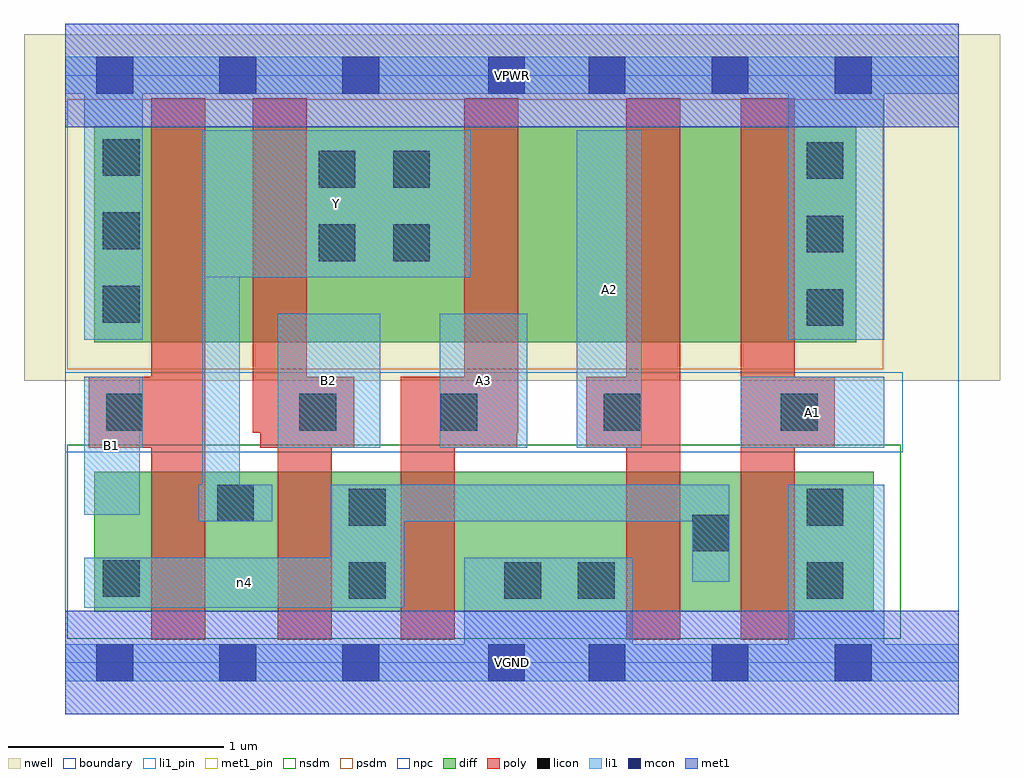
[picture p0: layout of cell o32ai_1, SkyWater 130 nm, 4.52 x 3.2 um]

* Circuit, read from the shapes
.subckt o32ai_1 A1 A2 A3 B1 B2 VGND VPWR Y n4
XM1 Y B1 n4 VSUBS sky130_fd_pr__nfet_01v8 w=0.65 l=0.25
XM2 n4 B2 Y VSUBS sky130_fd_pr__nfet_01v8 w=0.65 l=0.25
XM3 VGND A3 n4 VSUBS sky130_fd_pr__nfet_01v8 w=0.65 l=0.25
XM4 n4 A2 VGND VSUBS sky130_fd_pr__nfet_01v8 w=0.65 l=0.25
XM5 VGND A1 n4 VSUBS sky130_fd_pr__nfet_01v8 w=0.65 l=0.25
XM6 n1 B1 VPWR n2 sky130_fd_pr__pfet_01v8 w=1 l=0.25
XM7 Y B2 n1 n2 sky130_fd_pr__pfet_01v8 w=1 l=0.25
XM8 n3 A3 Y n2 sky130_fd_pr__pfet_01v8 w=1 l=0.25
XM9 n5 A2 n3 n2 sky130_fd_pr__pfet_01v8 w=1 l=0.25
XM10 VPWR A1 n5 n2 sky130_fd_pr__pfet_01v8 w=1 l=0.25
.ends

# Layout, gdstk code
import gdstk
lib = gdstk.Library(unit=1e-6, precision=1e-09)
def R(c, l, rs):  # rectangles x0, y0, x1, y1
    for r in rs: c.add(gdstk.rectangle(r[:2], r[2:], *l))
def A(c, l, x, y, w, h, nx, ny, dx, dy):  # array of equal rectangles
    R(c, l, [(x+i*dx, y+j*dy, x+i*dx+w, y+j*dy+h) for i in range(nx) for j in range(ny)])
nwell = (64, 20)
diff = (65, 20)
poly = (66, 20)
licon = (66, 44)
li1_pin = (67, 16)
li1 = (67, 20)
mcon = (67, 44)
met1_pin = (68, 16)
met1 = (68, 20)
nsdm = (93, 44)
psdm = (94, 20)
npc = (95, 20)
boundary = (235, 4)

o32ai_1 = lib.new_cell('o32ai_1')
R(o32ai_1, nwell, [(-0.19,1.305,4.33,2.91), (0,1.305,4.14,2.91)])
R(o32ai_1, diff, [(0.135,0.235,3.745,0.885), (0.135,1.485,3.665,2.485)])
R(o32ai_1, poly, [(0.4,0.105,0.65,2.615), (0.985,0.105,1.235,1.325), (1.555,0.105,1.805,1.325), (2.6,0.105,2.85,2.615), (3.13,0.105,3.38,2.615), (0.11,0.995,0.65,1.325), (0.905,0.995,1.34,1.325), (1.805,0.995,2.095,1.325), (2.415,0.995,2.85,1.325), (3.13,0.995,3.565,1.325), (0.87,1.065,1.12,2.615), (1.85,1.065,2.1,2.615)])
A(o32ai_1, licon, 3.435, 1.56, 0.17, 0.17, 1, 3, 0, 0.34)
A(o32ai_1, licon, 0.175, 1.575, 0.17, 0.17, 1, 3, 0, 0.34)
R(o32ai_1, licon, [(1.315,0.295,1.485,0.465), (2.035,0.295,2.205,0.465), (2.375,0.295,2.545,0.465), (3.435,0.295,3.605,0.465), (0.175,0.305,0.345,0.475), (2.905,0.515,3.075,0.685), (1.315,0.635,1.485,0.805), (3.435,0.635,3.605,0.805), (0.705,0.655,0.875,0.825), (0.19,1.075,0.36,1.245), (1.085,1.075,1.255,1.245), (1.74,1.075,1.91,1.245), (2.495,1.075,2.665,1.245), (3.315,1.075,3.485,1.245), (1.175,1.86,1.345,2.03), (1.52,1.86,1.69,2.03), (1.175,2.2,1.345,2.37), (1.52,2.2,1.69,2.37)])
R(o32ai_1, li1_pin, [(0.09,0.685,0.345,1.325), (0.985,0.995,1.46,1.615), (1.735,0.995,2.14,1.615), (2.37,0.995,2.67,2.465), (3.13,0.995,3.795,1.325), (0.635,1.785,1.88,2.465)])
R(o32ai_1, li1, [(0,-0.085,4.14,0.085), (1.85,-0.085,2.63,0.485), (3.35,-0.085,3.795,0.825), (0.09,0.255,1.57,0.485), (1.23,0.255,1.57,0.825), (2.905,0.375,3.075,0.825), (0.62,0.655,0.96,0.825), (0.635,0.655,0.81,2.465), (1.23,0.655,3.075,0.825), (0.09,0.685,0.345,1.325), (0.09,0.995,0.36,1.325), (0.985,0.995,1.46,1.615), (1.735,0.995,2.14,1.615), (2.37,0.995,2.67,2.465), (3.13,0.995,3.795,1.325), (0.09,1.495,0.36,2.805), (3.35,1.495,3.795,2.805), (0.635,1.785,1.88,2.465), (0,2.635,4.14,2.805)])
A(o32ai_1, mcon, 0.145, -0.085, 0.17, 0.17, 3, 2, 0.57, 2.72)
A(o32ai_1, mcon, 2.425, -0.085, 0.17, 0.17, 3, 2, 0.57, 2.72)
R(o32ai_1, mcon, [(1.96,-0.085,2.13,0.085), (1.96,2.635,2.13,2.805)])
R(o32ai_1, met1_pin, [(0,-0.24,4.14,0.24), (0,2.48,4.14,2.96)])
R(o32ai_1, met1, [(0,-0.24,4.14,0.24), (0,2.48,4.14,2.96)])
R(o32ai_1, nsdm, [(0.01,0.11,3.87,1.01)])
R(o32ai_1, psdm, [(0.01,1.36,3.79,2.61)])
R(o32ai_1, npc, [(0,0.975,3.88,1.345)])
R(o32ai_1, boundary, [(0,0,4.14,2.72)])
o32ai_1.add(gdstk.Label('A1', (3.462,1.16), layer=67, texttype=5))
o32ai_1.add(gdstk.Label('A2', (2.52,1.73), layer=67, texttype=5))
o32ai_1.add(gdstk.Label('A3', (1.937,1.305), layer=67, texttype=5))
o32ai_1.add(gdstk.Label('B1', (0.217,1.005), layer=67, texttype=5))
o32ai_1.add(gdstk.Label('B2', (1.222,1.305), layer=67, texttype=5))
o32ai_1.add(gdstk.Label('Y', (1.257,2.125), layer=67, texttype=5))
o32ai_1.add(gdstk.Label('n4', (0.83,0.37), layer=67, texttype=5))
o32ai_1.add(gdstk.Label('VPWR', (2.07,2.72), layer=68, texttype=5))
o32ai_1.add(gdstk.Label('VGND', (2.07,0), layer=68, texttype=5))
o32ai_1.add(gdstk.Label('A1', (3.462,1.16), layer=67, texttype=16))
o32ai_1.add(gdstk.Label('A2', (2.52,1.73), layer=67, texttype=16))
o32ai_1.add(gdstk.Label('A3', (1.937,1.305), layer=67, texttype=16))
o32ai_1.add(gdstk.Label('B1', (0.217,1.005), layer=67, texttype=16))
o32ai_1.add(gdstk.Label('B2', (1.222,1.305), layer=67, texttype=16))
o32ai_1.add(gdstk.Label('Y', (1.257,2.125), layer=67, texttype=16))
o32ai_1.add(gdstk.Label('VPWR', (2.07,2.72), layer=68, texttype=16))
o32ai_1.add(gdstk.Label('VGND', (2.07,0), layer=68, texttype=16))

lib.write_gds('o32ai_1.gds')
